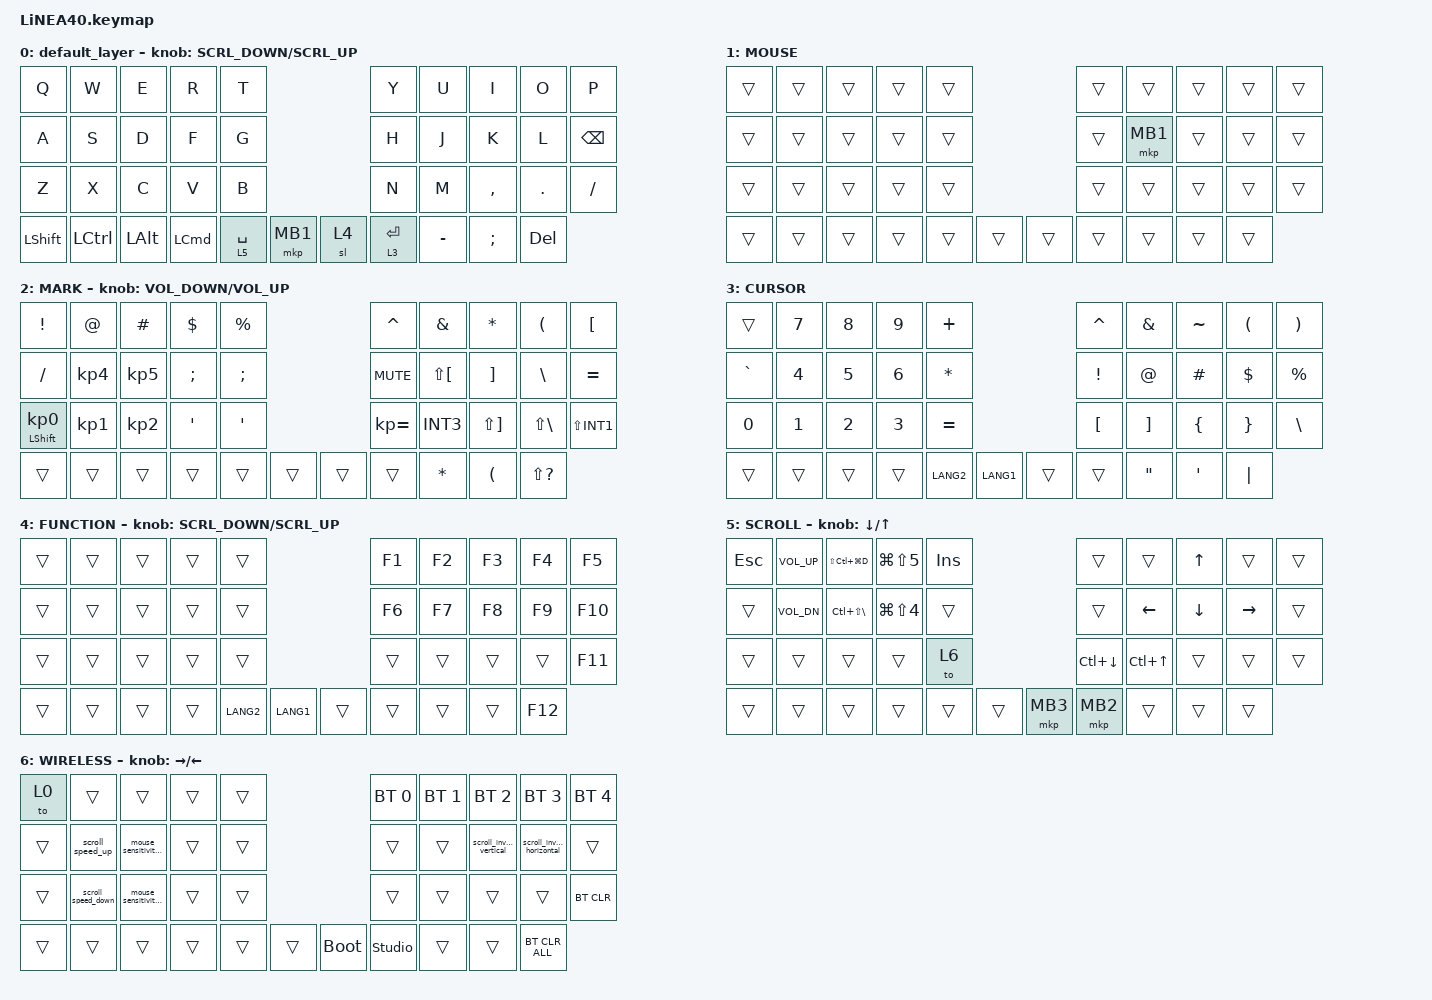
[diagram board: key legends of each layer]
#define ZMK_POINTING_DEFAULT_SCRL_VAL 150

#include <dt-bindings/zmk/input_transform.h>
#include <input/processors.dtsi>
#include <zephyr/dt-bindings/input/input-event-codes.h>
#include <behaviors.dtsi>
#include <dt-bindings/zmk/bt.h>
#include <dt-bindings/zmk/keys.h>
#include <dt-bindings/zmk/pointing.h>

#define MOUSE 1
#define MARK 2
#define CURSOR 3
#define FUNCTION 4
#define SCROLL 5
#define WIRELESS 6

//mouse cursol

&mmv {
    delay-ms = <20>;
    trigger-period-ms = <5>;
    time-to-max-speed-ms = <100>;
    acceleration-exponent = <2>;
};

//mouse scroll

&msc {
    delay-ms = <3>;
    trigger-period-ms = <3>;
    time-to-max-speed-ms = <100>;
    acceleration-exponent = <0>;
};

/ {
    input_processors {
        linea40_pointing_processor: linea40_pointing_processor {
            compatible = "tererun,input-processor-pointing-control";
            #input-processor-cells = <0>;
        };

        zip_wheel_scaler: zip_wheel_scaler {
            compatible = "zmk,input-processor-scaler";
            #input-processor-cells = <2>;
            type = <INPUT_EV_REL>;
            codes = <INPUT_REL_WHEEL>;
            track-remainders;
        };
    };
};

&msc_input_listener {
    speed_up {
        layers = <FUNCTION>;
        input-processors = <&zip_wheel_scaler 3 1>; //スクロールを3倍速にする
    };
};

&trackball_listener {
    input-processors = <&linea40_pointing_processor>;

    scroller {
        layers = <SCROLL>;
        input-processors =
            <&zip_xy_transform INPUT_TRANSFORM_Y_INVERT>,
            //スクロール方向を逆転,,,,,,
            <&zip_xy_to_scroll_mapper>;

        process-next;
    };
};

/ {
    combos {
        compatible = "zmk,combos";

        Tab {
            bindings = <&kp TAB>;
            key-positions = <11 12>;
        };

        ShiftTab {
            bindings = <&kp LS(TAB)>;
            key-positions = <12 13>;
        };
    };

    behaviors {
        pointing_control: pointing_control {
            compatible = "tererun,behavior-pointing-control";
            #binding-cells = <1>;
        };

        scroll_invert_vertical: scroll_invert_vertical {
            compatible = "zmk,behavior-macro";
            #binding-cells = <0>;
            display-name = "Scroll: Invert Vertical";
            bindings = <&pointing_control 0>;
        };

        scroll_invert_horizontal: scroll_invert_horizontal {
            compatible = "zmk,behavior-macro";
            #binding-cells = <0>;
            display-name = "Scroll: Invert Horizontal";
            bindings = <&pointing_control 1>;
        };

        mouse_sensitivity_up: mouse_sensitivity_up {
            compatible = "zmk,behavior-macro";
            #binding-cells = <0>;
            display-name = "Mouse Sensitivity +";
            bindings = <&pointing_control 2>;
        };

        mouse_sensitivity_down: mouse_sensitivity_down {
            compatible = "zmk,behavior-macro";
            #binding-cells = <0>;
            display-name = "Mouse Sensitivity -";
            bindings = <&pointing_control 3>;
        };

        scroll_speed_up: scroll_speed_up {
            compatible = "zmk,behavior-macro";
            #binding-cells = <0>;
            display-name = "Scroll Speed +";
            bindings = <&pointing_control 4>;
        };

        scroll_speed_down: scroll_speed_down {
            compatible = "zmk,behavior-macro";
            #binding-cells = <0>;
            display-name = "Scroll Speed -";
            bindings = <&pointing_control 5>;
        };

        re_kp: sensor_rotate_kp {
            compatible = "zmk,behavior-sensor-rotate-var";
            #sensor-binding-cells = <2>;
            bindings = <&kp>, <&kp>;
        };

        mouse_scrl: mouse_wheel_scrl {
            compatible = "zmk,behavior-sensor-rotate-var";
            #sensor-binding-cells = <2>;
            bindings = <&msc>, <&msc>;

            tap-ms = <20>;
        };
    };

    macros {
    };

    keymap {
        compatible = "zmk,keymap";

        default_layer {
            bindings = <
&kp Q           &kp W      &kp E         &kp R             &kp T                           &kp Y        &kp U  &kp I      &kp O          &kp P
&kp A           &kp S      &kp D         &kp F             &kp G                           &kp H        &kp J  &kp K      &kp L          &kp BACKSPACE
&kp Z           &kp X      &kp C         &kp V             &kp B                           &kp N        &kp M  &kp COMMA  &kp DOT        &kp SLASH
&kp LEFT_SHIFT  &kp LCTRL  &kp LEFT_ALT  &kp LEFT_COMMAND  &lt 5 SPACE  &mkp MB1    &sl 4  &lt 3 ENTER         &kp MINUS  &kp SEMICOLON  &kp DELETE
            >;

            sensor-bindings = <&mouse_scrl SCRL_DOWN SCRL_UP>;
        };

        //1

        MOUSE {
            bindings = <
&trans  &trans  &trans  &trans  &trans                    &trans  &trans    &trans  &trans  &trans
&trans  &trans  &trans  &trans  &trans                    &trans  &mkp MB1  &trans  &trans  &trans
&trans  &trans  &trans  &trans  &trans                    &trans  &trans    &trans  &trans  &trans
&trans  &trans  &trans  &trans  &trans  &trans    &trans  &trans            &trans  &trans  &trans
            >;
        };

        //2

        MARK {
            bindings = <
&kp EXCLAMATION             &kp AT           &kp HASH         &kp DOLLAR     &kp PERCENT                      &kp CARET     &kp AMPERSAND  &kp ASTERISK           &kp LEFT_PARENTHESIS  &kp LBKT
&kp SLASH                   &kp KP_NUMBER_4  &kp KP_NUMBER_5  &kp SEMICOLON  &kp SEMICOLON                    &kp C_MUTE    &kp LS(LBKT)   &kp RIGHT_BRACKET      &kp BACKSLASH         &kp EQUAL
&mt LEFT_SHIFT KP_NUMBER_0  &kp KP_NUMBER_1  &kp KP_NUMBER_2  &kp APOS       &kp SQT                          &kp KP_EQUAL  &kp INT3       &kp LS(RIGHT_BRACKET)  &kp LS(BACKSLASH)     &kp LS(INT1)
&trans                      &trans           &trans           &trans         &trans         &trans    &trans  &trans                       &kp ASTERISK           &kp LEFT_PARENTHESIS  &kp LS(QUESTION)
            >;

            sensor-bindings = <&re_kp C_VOLUME_DOWN C_VOLUME_UP>;
        };

        //3

        CURSOR {
            bindings = <
&trans        &kp NUMBER_7  &kp NUMBER_8  &kp NUMBER_9  &kp PLUS                           &kp CARET         &kp AMPERSAND      &kp TILDE          &kp LEFT_PARENTHESIS  &kp RIGHT_PARENTHESIS
&kp GRAVE     &kp NUMBER_4  &kp NUMBER_5  &kp NUMBER_6  &kp ASTERISK                       &kp EXCLAMATION   &kp AT_SIGN        &kp HASH           &kp DOLLAR            &kp PERCENT
&kp NUMBER_0  &kp NUMBER_1  &kp NUMBER_2  &kp NUMBER_3  &kp EQUAL                          &kp LEFT_BRACKET  &kp RIGHT_BRACKET  &kp LEFT_BRACE     &kp RIGHT_BRACE       &kp BACKSLASH
&trans        &trans        &trans        &trans        &kp LANG2     &kp LANG1    &trans  &trans                               &kp DOUBLE_QUOTES  &kp SQT               &kp PIPE
            >;
        };

        //4

        FUNCTION {
            bindings = <
&trans  &trans  &trans  &trans  &trans                          &kp F1  &kp F2  &kp F3  &kp F4  &kp F5
&trans  &trans  &trans  &trans  &trans                          &kp F6  &kp F7  &kp F8  &kp F9  &kp F10
&trans  &trans  &trans  &trans  &trans                          &trans  &trans  &trans  &trans  &kp F11
&trans  &trans  &trans  &trans  &kp LANG2  &kp LANG1    &trans  &trans          &trans  &trans  &kp F12
            >;

            sensor-bindings = <&mouse_scrl SCRL_DOWN SCRL_UP>;
        };

        //5

        SCROLL {
            bindings = <
&kp ESCAPE  &kp C_VOLUME_UP  &kp LS(LC(LG(D)))      &kp LG(LS(NUMBER_5))  &kp INSERT                      &trans              &trans            &kp UP_ARROW    &trans           &trans
&trans      &kp C_VOL_DN     &kp LC(LS(BACKSLASH))  &kp LG(LS(NUMBER_4))  &trans                          &trans              &kp LEFT_ARROW    &kp DOWN_ARROW  &kp RIGHT_ARROW  &trans
&trans      &trans           &trans                 &trans                &to 6                           &kp LC(DOWN_ARROW)  &kp LC(UP_ARROW)  &trans          &trans           &trans
&trans      &trans           &trans                 &trans                &trans      &trans    &mkp MB3  &mkp MB2                              &trans          &trans           &trans
            >;

            sensor-bindings = <&inc_dec_kp DOWN_ARROW UP_ARROW>;
        };

        //6

        WIRELESS {
            bindings = <
&to 0   &trans              &trans                   &trans  &trans                         &bt BT_SEL 0    &bt BT_SEL 1  &bt BT_SEL 2             &bt BT_SEL 3               &bt BT_SEL 4
&trans  &scroll_speed_up    &mouse_sensitivity_up    &trans  &trans                         &trans          &trans        &scroll_invert_vertical  &scroll_invert_horizontal  &trans
&trans  &scroll_speed_down  &mouse_sensitivity_down  &trans  &trans                         &trans          &trans        &trans                   &trans                     &bt BT_CLR
&trans  &trans              &trans                   &trans  &trans  &trans    &bootloader  &studio_unlock                &trans                   &trans                     &bt BT_CLR_ALL
            >;

            sensor-bindings = <&inc_dec_kp RIGHT_ARROW LEFT_ARROW>;
        };
    };
};
